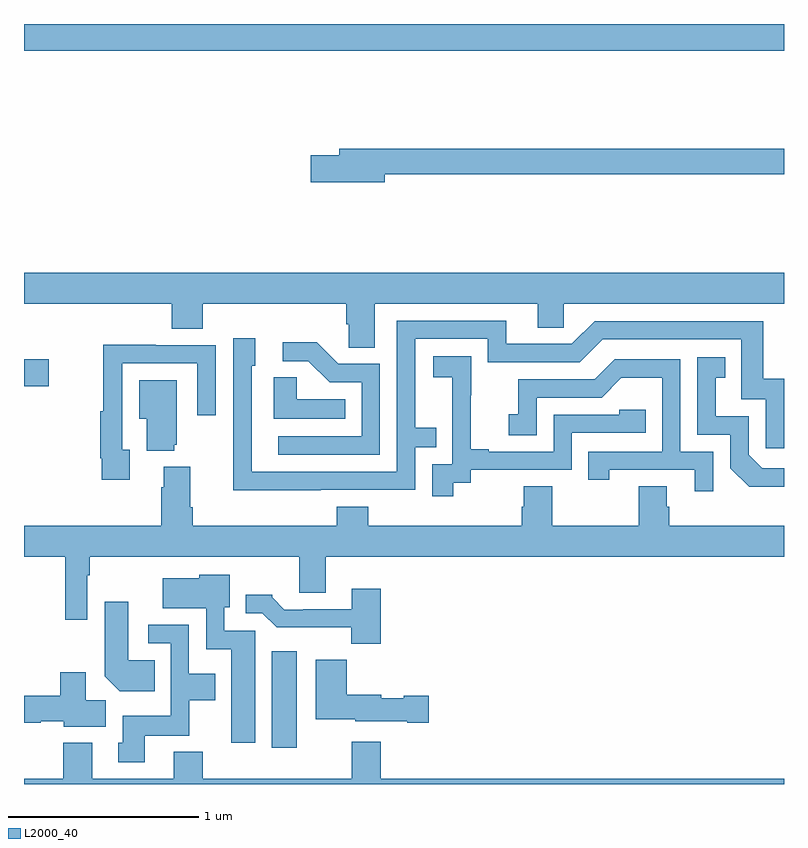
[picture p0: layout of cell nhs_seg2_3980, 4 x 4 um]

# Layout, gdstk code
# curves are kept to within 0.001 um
import gdstk
lib = gdstk.Library(unit=1e-6, precision=1e-09)
def R(c, l, rs):  # rectangles x0, y0, x1, y1
    for r in rs: c.add(gdstk.rectangle(r[:2], r[2:], *l))
def P(c, l, *ps):  # polygons
    for p in ps: c.add(gdstk.Polygon(p, *l))
L2000_40 = (2000, 40)

nhs_seg2_3980 = lib.new_cell('nhs_seg2_3980')
R(nhs_seg2_3980, L2000_40, [(324.305,619.992,324.436,620.5), (323,621.893,323.131,622.035), (323,623.66,327,623.8)])
P(nhs_seg2_3980, L2000_40, [(324.898,623.008),(327,623.008),(327,623.144),(324.659,623.144),(324.659,623.108),(324.51,623.108),(324.51,622.966),(324.898,622.966)],
  [(324.847,622.328),(325.703,622.328),(325.703,622.201),(325.842,622.201),(325.842,622.328),(327,622.328),(327,622.492),(323,622.492),(323,622.328),(323.777,622.328),(323.777,622.195),(323.942,622.195),(323.942,622.328),(324.695,622.328),(324.695,622.219),(324.708,622.219),(324.708,622.096),(324.847,622.096)],
  [(324.563,621.348),(325.059,621.348),(325.059,621.573),(325.169,621.573),(325.169,621.674),(325.059,621.674),(325.059,622.143),(325.44,622.143),(325.44,622.02),(325.926,622.02),(326.046,622.14),(326.775,622.14),(326.775,621.825),(326.904,621.825),(326.904,621.567),(327,621.567),(327,621.934),(326.891,621.934),(326.891,622.236),(326.004,622.236),(325.884,622.116),(325.537,622.116),(325.537,622.239),(324.963,622.239),(324.963,621.444),(324.198,621.444),(324.198,622.002),(324.217,622.002),(324.217,622.147),(324.102,622.147),(324.102,621.653),(324.1,621.653),(324.1,621.347)],
  [(324.873,622.011),(324.654,622.011),(324.541,622.124),(324.363,622.124),(324.363,622.026),(324.497,622.026),(324.608,621.915),(324.777,621.915),(324.777,621.63),(324.339,621.63),(324.339,621.534),(324.873,621.534)],
  [(323.557,621.558),(323.517,621.558),(323.517,622.014),(323.913,622.014),(323.913,621.741),(324.009,621.741),(324.009,622.11),(323.693,622.11),(323.693,622.112),(323.416,622.112),(323.416,621.761),(323.401,621.761),(323.401,621.514),(323.409,621.514),(323.409,621.402),(323.557,621.402)],
  [(325.258,621.385),(325.35,621.385),(325.35,621.453),(325.884,621.453),(325.884,621.648),(326.273,621.648),(326.273,621.771),(326.133,621.771),(326.133,621.744),(325.788,621.744),(325.788,621.549),(325.447,621.549),(325.447,621.562),(325.352,621.562),(325.352,621.845),(325.353,621.845),(325.353,622.051),(325.155,622.051),(325.155,621.941),(325.253,621.941),(325.253,621.713),(325.254,621.713),(325.254,621.483),(325.149,621.483),(325.149,621.315),(325.258,621.315)],
  [(327,621.462),(326.886,621.462),(326.814,621.534),(326.814,621.735),(326.641,621.735),(326.641,621.939),(326.69,621.939),(326.69,622.045),(326.544,622.045),(326.544,621.639),(326.718,621.639),(326.718,621.462),(326.816,621.365),(327,621.365)],
  [(326.628,621.549),(326.454,621.549),(326.454,622.035),(326.108,622.035),(326.003,621.93),(325.6,621.93),(325.6,621.745),(325.551,621.745),(325.551,621.636),(325.698,621.636),(325.698,621.834),(326.04,621.834),(326.144,621.938),(326.358,621.938),(326.358,621.549),(325.969,621.549),(325.969,621.402),(326.08,621.402),(326.08,621.453),(326.531,621.453),(326.531,621.342),(326.628,621.342)],
  [(324.692,621.826),(324.435,621.826),(324.435,621.941),(324.314,621.941),(324.314,621.722),(324.692,621.722)],
  [(323.792,621.585),(323.803,621.585),(323.803,621.925),(323.606,621.925),(323.606,621.722),(323.645,621.722),(323.645,621.554),(323.792,621.554)],
  [(323.334,620.9),(323.347,620.9),(323.347,620.996),(324.449,620.996),(324.449,620.806),(324.589,620.806),(324.589,620.996),(327,620.996),(327,621.16),(326.396,621.16),(326.396,621.258),(326.383,621.258),(326.383,621.368),(326.236,621.368),(326.236,621.16),(325.779,621.16),(325.779,621.368),(325.631,621.368),(325.631,621.258),(325.619,621.258),(325.619,621.16),(324.812,621.16),(324.812,621.259),(324.647,621.259),(324.647,621.16),(323.888,621.16),(323.888,621.256),(323.875,621.256),(323.875,621.469),(323.735,621.469),(323.735,621.362),(323.723,621.362),(323.723,621.16),(323,621.16),(323,620.996),(323.218,620.996),(323.218,620.664),(323.334,620.664)],
  [(324.217,620.607),(324.054,620.607),(324.054,620.73),(324.082,620.73),(324.082,620.902),(323.922,620.902),(323.922,620.884),(323.73,620.884),(323.73,620.726),(323.958,620.726),(323.958,620.51),(324.092,620.51),(324.092,620.016),(324.217,620.016)],
  [(324.878,620.827),(324.725,620.827),(324.725,620.721),(324.469,620.721),(324.469,620.718),(324.37,620.718),(324.306,620.782),(324.306,620.797),(324.167,620.797),(324.167,620.7),(324.255,620.7),(324.331,620.624),(324.723,620.624),(324.723,620.537),(324.878,620.537)],
  [(323.687,620.452),(323.548,620.452),(323.548,620.758),(323.426,620.758),(323.426,620.366),(323.504,620.288),(323.687,620.288)],
  [(323.635,620.054),(323.871,620.054),(323.871,620.24),(324.007,620.24),(324.007,620.38),(323.868,620.38),(323.868,620.637),(323.655,620.637),(323.655,620.541),(323.772,620.541),(323.772,620.158),(323.519,620.158),(323.519,620.016),(323.495,620.016),(323.495,619.914),(323.635,619.914)],
  [(325.129,620.264),(324.998,620.264),(324.998,620.251),(324.879,620.251),(324.879,620.269),(324.698,620.269),(324.698,620.455),(324.536,620.455),(324.536,620.141),(324.744,620.141),(324.744,620.129),(325.016,620.129),(325.016,620.122),(325.129,620.122)],
  [(323.431,620.24),(323.326,620.24),(323.326,620.389),(323.192,620.389),(323.192,620.264),(323,620.264),(323,620.122),(323.088,620.122),(323.088,620.129),(323.208,620.129),(323.208,620.102),(323.431,620.102)],
  [(327,619.828),(324.878,619.828),(324.878,620.023),(324.725,620.023),(324.725,619.828),(323.942,619.828),(323.942,619.969),(323.789,619.969),(323.789,619.828),(323.359,619.828),(323.359,620.017),(323.207,620.017),(323.207,619.828),(323,619.828),(323,619.8),(327,619.8)])

lib.write_gds('nhs_seg2_3980.gds')
